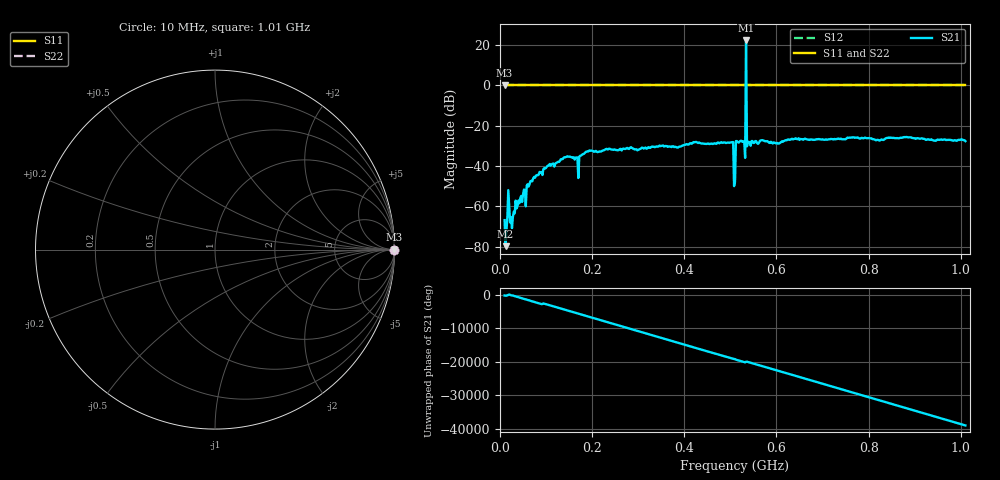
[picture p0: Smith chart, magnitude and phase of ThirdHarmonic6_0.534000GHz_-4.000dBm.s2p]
! 8/15/2025 4:39:19 PM
! C:\ANRITSUVNA\TEMP\TEMP.S2P
! CHANNEL.1
! TR.MEASUREMENT
! RAW.DATA
! RF.CORRECTION.OFF
! AVERAGING.OFF
! IF.BANDWIDTH: 5KHZ
! SWEEPTYPE:  FREQ.SWEEP(Linear)
! Reference Plane Port Info
! PORT:  PORT1  PORT2
! DISTANCE:  0  m  0  m
! TIME:  0  s  0  s
! PHASE.OFFSET:  0  deg.  0  deg.
! LOSS:  0  dB  0  dB
! REF.LOSS:  0  dB  0  dB
! REF.FREQ:  0  Hz  0  Hz
! Power Info
! POWER:  -20  dBm  -20  dBm
! EFF.POWER:  -20  dBm  -20  dBm
! SOURCE.ATTEN:  0  dB  0  dB
! TEST.ATTEN:  0  dB  0  dB
# GHZ S RI R 50.0
! FREQ.GHZ  S11RE  S11IM  S21RE  S21IM  S12RE  S12IM  S22RE  S22IM
!; PortSelection: Port_12
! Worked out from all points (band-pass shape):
!   501 points, 10 MHz to 1.01 GHz, reference 50 ohm
!   highest |S21| = 22.17 dB at 534 MHz (marker M1); lowest = -79.8 dB at 12 MHz (marker M2)
!   |S21| within 3 dB of the highest: 533.897 MHz to 534.1144 MHz (217.4 kHz wide, 0.0407 % of centre)
!   lowest |S11| = 0.0 dB at 10 MHz (marker M3)
!   |S11| at or under -10 dB: nowhere
!   |S22| runs from 0.0 to 0.0 dB; largest |S21 - S12| = 14
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0.01  1 0  -0.00043 -0.000137  1 0  1 0
0.012  1 0  -9.53e-05 3.67e-05  1 0  1 0
0.02  1 0  -0.000572 0.000858  1 0  1 0
0.026  1 0  -0.000285 3e-07  1 0  1 0
0.076  1 0  0.00507 -0.000418  1 0  1 0
0.142  1 0  -0.0155 -0.00529  1 0  1 0
0.166  1 0  0.01 -0.0125  1 0  1 0
0.178  1 0  -0.0186 -0.00307  1 0  1 0
0.344  1 0  0.0284 -0.0102  1 0  1 0
0.502  1 0  -0.0131 0.0359  1 0  1 0
0.506  1 0  0.0256 -0.0291  1 0  1 0
0.51  1 0  -0.00185 -0.00353  1 0  1 0
0.512  1 0  0.0157 0.0379  1 0  1 0
0.516  1 0  -0.0035 -0.0388  1 0  1 0
0.528  1 0  -0.0331 0.0229  1 0  1 0
0.53  1 0  0.0182 0.0365  1 0  1 0
0.534  1 0  -12.13 4.214  1 0  1 0
0.538  1 0  -0.00764 0.0384  1 0  1 0
0.54  1 0  0.0373 0.0123  1 0  1 0
0.678  1 0  -0.0291 -0.0338  1 0  1 0
0.844  1 0  0.0439 0.0247  1 0  1 0
1.01  1 0  -0.041 0.00181  1 0  1 0
